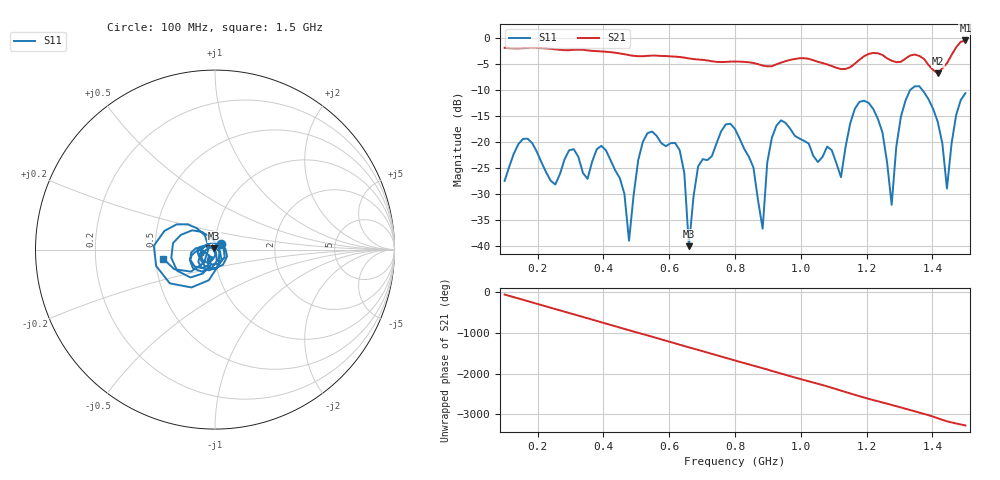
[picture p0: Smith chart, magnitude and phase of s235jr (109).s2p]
! NanoVNA-App
! Date: 2025-09-25 15:05:01
! Start: 100MHz Stop: 1,5GHz Points: 101
! S-Parameter data: F S11 S21 S12 S22
# Hz S RI R 50
!  Frequency  S11_Real  S11_Imag  S21_Real  S21_Imag  S12_Real  S12_Imag  S22_Real  S22_Imag
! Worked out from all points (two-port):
!   101 points, 100 MHz to 1.5 GHz, reference 50 ohm
!   highest |S21| = -0.56 dB at 1.5 GHz (marker M1); lowest = -6.9 dB at 1.416 GHz (marker M2)
!   |S21| within 3 dB of the highest: start of sweep to 501.9 MHz; 523.7 MHz to 593.4 MHz (69.7 MHz wide, 12.5 % of centre) (the widest 2 of 5)
!   lowest |S11| = -40.0 dB at 660 MHz (marker M3), VSWR 1.02, Z = 49.2 + j0.632 ohm
!   |S11| at or under -10 dB: start of sweep to 1.333 GHz; 1.368 GHz to end of sweep
!   S12 and S22 are empty: the file has one direction only
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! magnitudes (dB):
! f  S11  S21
! 100 MHz  -27.5  -2.0
! 156 MHz  -19.4  -2.0
! 338 MHz  -26.0  -2.3
! 408 MHz  -21.6  -2.7
! 478 MHz  -38.9  -3.4
! 520 MHz  -20.0  -3.6
! 576 MHz  -20.2  -3.5
! 632 MHz  -21.6  -3.7
! 660 MHz  -40.0  -4.0
! 688 MHz  -24.7  -4.2
! 800 MHz  -17.5  -4.6
! 884 MHz  -36.6  -5.4
! 898 MHz  -24.0  -5.5
! 926 MHz  -16.9  -5.1
! 1.038 GHz  -22.7  -4.3
! 1.122 GHz  -26.8  -6.0
! 1.206 GHz  -12.5  -3.1
! 1.276 GHz  -32.1  -4.4
! 1.332 GHz  -10.1  -3.4
! 1.416 GHz  -16.2  -6.9
! 1.444 GHz  -28.9  -4.9
! 1.5 GHz  -10.7  -0.6
